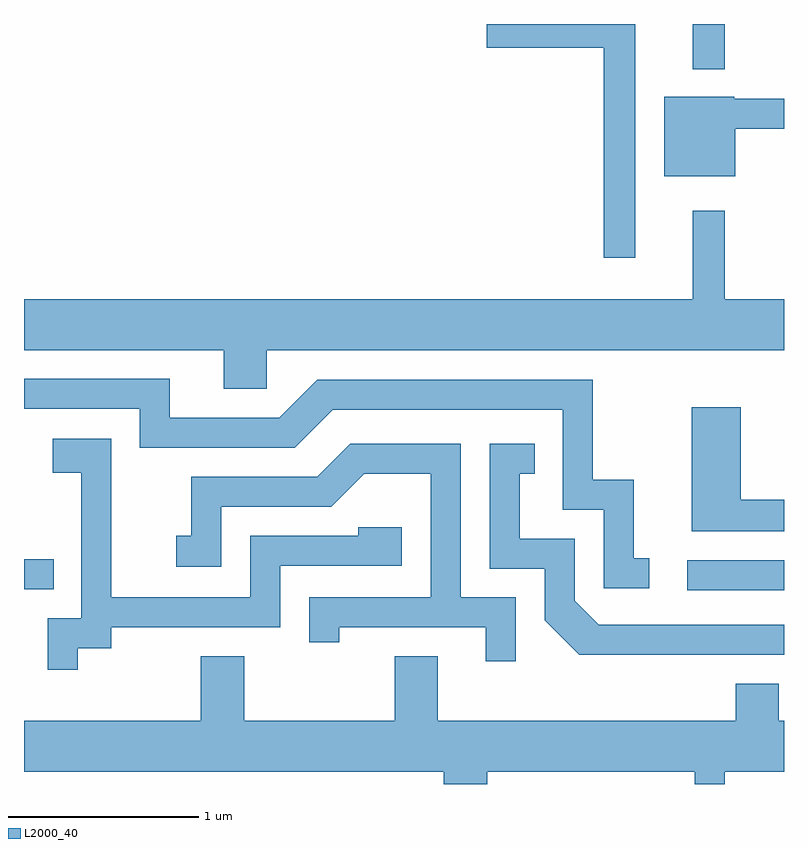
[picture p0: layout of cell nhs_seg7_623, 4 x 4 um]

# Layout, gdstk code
import gdstk
lib = gdstk.Library(unit=1e-6, precision=1e-09)
def R(c, l, rs):  # rectangles x0, y0, x1, y1
    for r in rs: c.add(gdstk.rectangle(r[:2], r[2:], *l))
def P(c, l, *ps):  # polygons
    for p in ps: c.add(gdstk.Polygon(p, *l))
L2000_40 = (2000, 40)

nhs_seg7_623 = lib.new_cell('nhs_seg7_623')
R(nhs_seg7_623, L2000_40, [(207.103,1715.271,207.611,1715.429), (203.611,1715.276,203.768,1715.434), (207.131,1718.013,207.299,1718.252)])
P(nhs_seg7_623, L2000_40, [(206.829,1718.252),(206.046,1718.252),(206.046,1718.126),(206.661,1718.126),(206.661,1717.023),(206.829,1717.023)],
  [(207.354,1717.701),(207.611,1717.701),(207.611,1717.859),(207.35,1717.859),(207.35,1717.869),(206.981,1717.869),(206.981,1717.451),(207.354,1717.451)],
  [(204.889,1716.536),(207.611,1716.536),(207.611,1716.804),(207.299,1716.804),(207.299,1717.268),(207.131,1717.268),(207.131,1716.804),(203.611,1716.804),(203.611,1716.536),(204.661,1716.536),(204.661,1716.331),(204.889,1716.331)],
  [(206.903,1715.439),(206.819,1715.439),(206.819,1715.854),(206.604,1715.854),(206.604,1716.379),(205.154,1716.379),(204.954,1716.179),(204.379,1716.179),(204.379,1716.384),(203.611,1716.384),(203.611,1716.226),(204.221,1716.226),(204.221,1716.021),(205.037,1716.021),(205.237,1716.221),(206.446,1716.221),(206.446,1715.696),(206.661,1715.696),(206.661,1715.281),(206.903,1715.281)],
  [(207.611,1715.749),(207.384,1715.749),(207.384,1716.234),(207.126,1716.234),(207.126,1715.581),(207.611,1715.581)],
  [(203.894,1714.966),(204.069,1714.966),(204.069,1715.076),(204.959,1715.076),(204.959,1715.401),(205.599,1715.401),(205.599,1715.604),(205.371,1715.604),(205.371,1715.559),(204.801,1715.559),(204.801,1715.234),(204.069,1715.234),(204.069,1716.069),(203.761,1716.069),(203.761,1715.891),(203.911,1715.891),(203.911,1715.124),(203.736,1715.124),(203.736,1714.853),(203.894,1714.853)],
  [(207.611,1715.089),(206.637,1715.089),(206.509,1715.217),(206.509,1715.544),(206.219,1715.544),(206.219,1715.886),(206.298,1715.886),(206.298,1716.044),(206.061,1716.044),(206.061,1715.386),(206.351,1715.386),(206.351,1715.114),(206.534,1714.931),(207.611,1714.931)],
  [(206.199,1715.234),(205.909,1715.234),(205.909,1716.044),(205.329,1716.044),(205.154,1715.869),(204.491,1715.869),(204.491,1715.559),(204.413,1715.559),(204.413,1715.396),(204.649,1715.396),(204.649,1715.711),(205.227,1715.711),(205.402,1715.886),(205.751,1715.886),(205.751,1715.234),(205.111,1715.234),(205.111,1714.998),(205.269,1714.998),(205.269,1715.076),(206.041,1715.076),(206.041,1714.898),(206.199,1714.898)],
  [(205.789,1714.924),(205.561,1714.924),(205.561,1714.584),(204.769,1714.584),(204.769,1714.924),(204.541,1714.924),(204.541,1714.584),(203.611,1714.584),(203.611,1714.316),(205.821,1714.316),(205.821,1714.252),(206.049,1714.252),(206.049,1714.316),(207.141,1714.316),(207.141,1714.252),(207.299,1714.252),(207.299,1714.316),(207.611,1714.316),(207.611,1714.584),(207.584,1714.584),(207.584,1714.779),(207.356,1714.779),(207.356,1714.584),(205.789,1714.584)])

lib.write_gds('nhs_seg7_623.gds')
